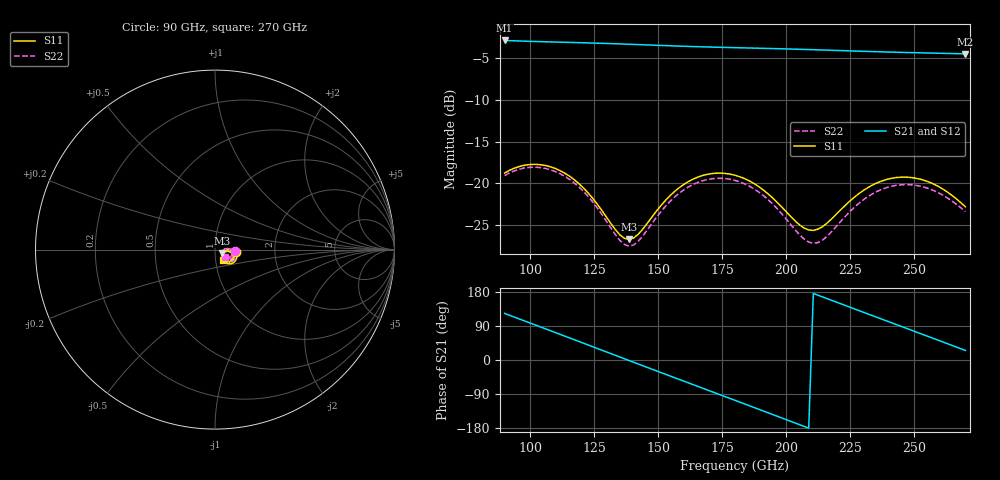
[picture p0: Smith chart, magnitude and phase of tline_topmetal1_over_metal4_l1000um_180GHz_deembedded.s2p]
! Created with skrf 2.0.1 (http://scikit-rf.org).
# GHz S DB R 50.0
!freq dBS11 angS11 dBS21 angS21 dBS12 angS12 dBS22 angS22
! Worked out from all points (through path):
!   101 points, 90 GHz to 270 GHz, reference 50 ohm
!   highest |S21| = -2.83 dB at 90 GHz (marker M1); lowest = -4.4 dB at 270 GHz (marker M2)
!   group delay of S21, straight-line fit = 7.06 ps
!   lowest |S11| = -26.7 dB at 138.6 GHz (marker M3), VSWR 1.10, Z = 54.3 - j2.22 ohm
!   |S11| at or under -10 dB: start of sweep to end of sweep
!   |S22| runs from -27.5 to -18.1 dB; largest |S21 - S12| = 8.3e-14
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90  -18.75 -6.9  -2.83 122.9  -2.83 122.9  -19.06 -3.9
97.2  -17.85 -17.8  -2.91 104.6  -2.91 104.6  -18.18 -14.4
104.4  -17.76 -29.4  -2.98 86.3  -2.98 86.3  -18.12 -25.7
111.6  -18.45 -40.5  -3.04 67.9  -3.04 67.9  -18.82 -36.7
120.6  -20.48 -51.5  -3.11 44.8  -3.11 44.8  -20.88 -47.5
129.6  -23.95 -52.1  -3.19 21.8  -3.19 21.8  -24.46 -48.4
138.6  -26.72 -26.2  -3.29 -1.3  -3.29 -1.3  -27.53 -21.7
142.2  -26.10 -12.7  -3.33 -10.5  -3.33 -10.5  -26.94 -7.1
151.2  -22.60 -0.5  -3.43 -33.5  -3.43 -33.5  -23.32 6.6
165.6  -19.22 -13.6  -3.58 -70.0  -3.58 -70.0  -19.86 -5.9
172.8  -18.77 -23.8  -3.65 -88.2  -3.65 -88.2  -19.38 -16.1
180  -19.01 -34.2  -3.70 -106.5  -3.70 -106.5  -19.63 -26.4
187.2  -19.97 -43.1  -3.75 -124.8  -3.75 -124.8  -20.61 -35.6
196.2  -22.18 -49.1  -3.82 -147.7  -3.82 -147.7  -22.94 -42.3
203.4  -24.47 -44.2  -3.88 -166.0  -3.88 -166.0  -25.53 -37.9
210.6  -25.63 -26.9  -3.94 175.6  -3.94 175.6  -27.18 -18.6
217.8  -24.24 -11.2  -4.02 157.3  -4.02 157.3  -25.76 1.0
226.8  -21.61 -8.6  -4.11 134.5  -4.11 134.5  -22.81 5.5
241.2  -19.38 -23.0  -4.24 98.1  -4.24 98.1  -20.33 -8.2
248.4  -19.27 -32.4  -4.29 79.9  -4.29 79.9  -20.15 -17.3
255.6  -19.81 -41.4  -4.34 61.7  -4.34 61.7  -20.61 -26.0
270  -22.80 -50.8  -4.44 25.2  -4.44 25.2  -23.37 -34.9
